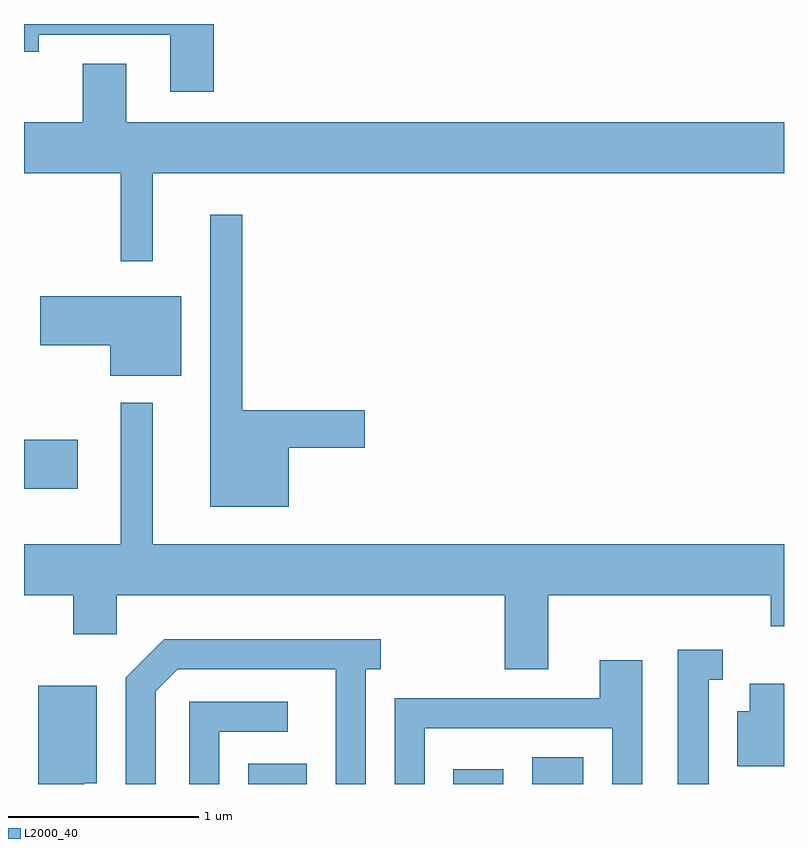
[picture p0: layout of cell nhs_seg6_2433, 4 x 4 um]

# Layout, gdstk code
import gdstk
lib = gdstk.Library(unit=1e-6, precision=1e-09)
def R(c, l, rs):  # rectangles x0, y0, x1, y1
    for r in rs: c.add(gdstk.rectangle(r[:2], r[2:], *l))
def P(c, l, *ps):  # polygons
    for p in ps: c.add(gdstk.Polygon(p, *l))
L2000_40 = (2000, 40)

nhs_seg6_2433 = lib.new_cell('nhs_seg6_2433')
R(nhs_seg6_2433, L2000_40, [(260.791,1540.162,261.099,1540.269), (261.871,1540.162,262.134,1540.239), (262.286,1540.162,262.554,1540.304), (259.611,1541.716,259.894,1541.974)])
P(nhs_seg6_2433, L2000_40, [(260.609,1544.162),(259.611,1544.162),(259.611,1544.016),(259.689,1544.016),(259.689,1544.106),(260.381,1544.106),(260.381,1543.806),(260.609,1543.806)],
  [(260.289,1543.376),(263.611,1543.376),(263.611,1543.644),(260.149,1543.644),(260.149,1543.954),(259.921,1543.954),(259.921,1543.644),(259.611,1543.644),(259.611,1543.376),(260.121,1543.376),(260.121,1542.913),(260.289,1542.913)],
  [(261.004,1541.931),(261.404,1541.931),(261.404,1542.129),(260.759,1542.129),(260.759,1543.158),(260.591,1543.158),(260.591,1541.621),(261.004,1541.621)],
  [(260.439,1542.729),(259.696,1542.729),(259.696,1542.471),(260.066,1542.471),(260.066,1542.311),(260.439,1542.311)],
  [(262.369,1541.156),(263.541,1541.156),(263.541,1540.991),(263.611,1540.991),(263.611,1541.424),(260.289,1541.424),(260.289,1542.168),(260.121,1542.168),(260.121,1541.424),(259.611,1541.424),(259.611,1541.156),(259.871,1541.156),(259.871,1540.951),(260.099,1540.951),(260.099,1541.156),(262.141,1541.156),(262.141,1540.766),(262.369,1540.766)],
  [(260.304,1540.649),(260.421,1540.766),(261.251,1540.766),(261.251,1540.162),(261.409,1540.162),(261.409,1540.766),(261.488,1540.766),(261.488,1540.924),(260.349,1540.924),(260.146,1540.722),(260.146,1540.162),(260.304,1540.162)],
  [(263.214,1540.711),(263.288,1540.711),(263.288,1540.869),(263.051,1540.869),(263.051,1540.162),(263.214,1540.162)],
  [(261.719,1540.456),(262.706,1540.456),(262.706,1540.162),(262.864,1540.162),(262.864,1540.814),(262.641,1540.814),(262.641,1540.614),(261.561,1540.614),(261.561,1540.162),(261.719,1540.162)],
  [(263.611,1540.689),(263.431,1540.689),(263.431,1540.544),(263.366,1540.544),(263.366,1540.256),(263.611,1540.256)],
  [(259.929,1540.166),(259.994,1540.166),(259.994,1540.679),(259.686,1540.679),(259.686,1540.162),(259.929,1540.162)],
  [(260.639,1540.436),(260.998,1540.436),(260.998,1540.594),(260.481,1540.594),(260.481,1540.162),(260.639,1540.162)])

lib.write_gds('nhs_seg6_2433.gds')
